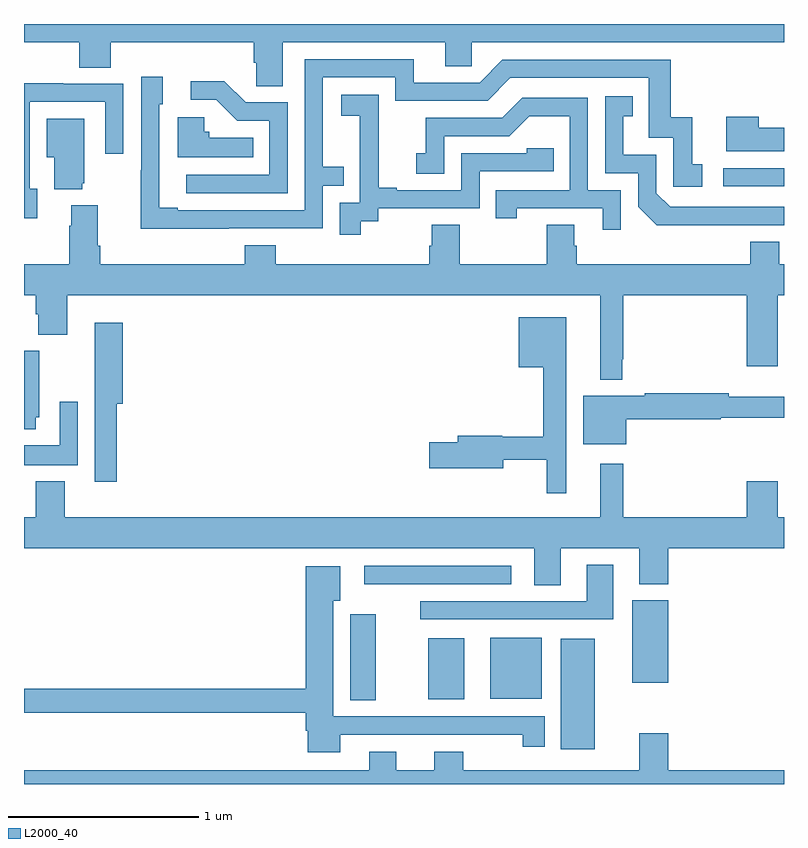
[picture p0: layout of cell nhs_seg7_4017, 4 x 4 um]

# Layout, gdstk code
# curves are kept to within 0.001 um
import gdstk
lib = gdstk.Library(unit=1e-6, precision=1e-09)
def R(c, l, rs):  # rectangles x0, y0, x1, y1
    for r in rs: c.add(gdstk.rectangle(r[:2], r[2:], *l))
def P(c, l, *ps):  # polygons
    for p in ps: c.add(gdstk.Polygon(p, *l))
L2000_40 = (2000, 40)

nhs_seg7_4017 = lib.new_cell('nhs_seg7_4017')
R(nhs_seg7_4017, L2000_40, [(367.826,1042.184,368.005,1042.765), (366.716,1042.441,366.85,1042.894), (367.127,1042.445,367.318,1042.768), (367.454,1042.448,367.726,1042.771), (368.201,1042.532,368.392,1042.966), (366.792,1043.052,367.564,1043.148), (368.679,1045.146,369,1045.242)])
P(nhs_seg7_4017, L2000_40, [(366.361,1045.904),(367.217,1045.904),(367.217,1045.777),(367.356,1045.777),(367.356,1045.904),(369,1045.904),(369,1046),(365,1046),(365,1045.904),(365.291,1045.904),(365.291,1045.771),(365.456,1045.771),(365.456,1045.904),(366.209,1045.904),(366.209,1045.795),(366.222,1045.795),(366.222,1045.672),(366.361,1045.672)],
  [(366.077,1044.924),(366.573,1044.924),(366.573,1045.149),(366.683,1045.149),(366.683,1045.25),(366.573,1045.25),(366.573,1045.719),(366.954,1045.719),(366.954,1045.596),(367.44,1045.596),(367.56,1045.716),(368.289,1045.716),(368.289,1045.401),(368.418,1045.401),(368.418,1045.143),(368.569,1045.143),(368.569,1045.263),(368.516,1045.263),(368.516,1045.51),(368.405,1045.51),(368.405,1045.812),(367.518,1045.812),(367.398,1045.692),(367.051,1045.692),(367.051,1045.815),(366.477,1045.815),(366.477,1045.02),(365.809,1045.02),(365.809,1045.033),(365.712,1045.033),(365.712,1045.578),(365.731,1045.578),(365.731,1045.723),(365.616,1045.723),(365.616,1045.229),(365.614,1045.229),(365.614,1044.923)],
  [(366.387,1045.587),(366.168,1045.587),(366.055,1045.7),(365.877,1045.7),(365.877,1045.602),(366.011,1045.602),(366.122,1045.491),(366.291,1045.491),(366.291,1045.206),(365.853,1045.206),(365.853,1045.11),(366.387,1045.11)],
  [(365.071,1045.134),(365.031,1045.134),(365.031,1045.59),(365.427,1045.59),(365.427,1045.317),(365.523,1045.317),(365.523,1045.686),(365.207,1045.686),(365.207,1045.688),(365,1045.688),(365,1044.978),(365.071,1044.978)],
  [(366.772,1044.961),(366.864,1044.961),(366.864,1045.029),(367.398,1045.029),(367.398,1045.224),(367.787,1045.224),(367.787,1045.347),(367.647,1045.347),(367.647,1045.32),(367.302,1045.32),(367.302,1045.125),(366.961,1045.125),(366.961,1045.138),(366.866,1045.138),(366.866,1045.421),(366.867,1045.421),(366.867,1045.627),(366.669,1045.627),(366.669,1045.517),(366.767,1045.517),(366.767,1045.289),(366.768,1045.289),(366.768,1045.059),(366.663,1045.059),(366.663,1044.891),(366.772,1044.891)],
  [(368.738,1044.942),(369,1044.942),(369,1045.038),(368.4,1045.038),(368.328,1045.11),(368.328,1045.311),(368.155,1045.311),(368.155,1045.515),(368.204,1045.515),(368.204,1045.621),(368.058,1045.621),(368.058,1045.215),(368.232,1045.215),(368.232,1045.038),(368.33,1044.941)],
  [(368.142,1045.125),(367.968,1045.125),(367.968,1045.611),(367.622,1045.611),(367.517,1045.506),(367.114,1045.506),(367.114,1045.321),(367.065,1045.321),(367.065,1045.212),(367.212,1045.212),(367.212,1045.41),(367.554,1045.41),(367.658,1045.514),(367.872,1045.514),(367.872,1045.125),(367.483,1045.125),(367.483,1044.978),(367.594,1044.978),(367.594,1045.029),(368.045,1045.029),(368.045,1044.918),(368.142,1044.918)],
  [(369,1045.453),(368.867,1045.453),(368.867,1045.513),(368.696,1045.513),(368.696,1045.331),(369,1045.331)],
  [(366.206,1045.402),(365.976,1045.402),(365.976,1045.434),(365.949,1045.434),(365.949,1045.51),(365.81,1045.51),(365.81,1045.298),(366.206,1045.298)],
  [(365.306,1045.161),(365.317,1045.161),(365.317,1045.501),(365.12,1045.501),(365.12,1045.298),(365.159,1045.298),(365.159,1045.13),(365.306,1045.13)],
  [(368.148,1044.235),(368.155,1044.235),(368.155,1044.572),(368.804,1044.572),(368.804,1044.198),(368.968,1044.198),(368.968,1044.572),(369,1044.572),(369,1044.736),(368.974,1044.736),(368.974,1044.853),(368.822,1044.853),(368.822,1044.736),(367.91,1044.736),(367.91,1044.834),(367.897,1044.834),(367.897,1044.944),(367.75,1044.944),(367.75,1044.736),(367.293,1044.736),(367.293,1044.944),(367.145,1044.944),(367.145,1044.834),(367.133,1044.834),(367.133,1044.736),(366.326,1044.736),(366.326,1044.835),(366.161,1044.835),(366.161,1044.736),(365.402,1044.736),(365.402,1044.832),(365.389,1044.832),(365.389,1045.045),(365.249,1045.045),(365.249,1044.938),(365.237,1044.938),(365.237,1044.736),(365,1044.736),(365,1044.572),(365.063,1044.572),(365.063,1044.473),(365.075,1044.473),(365.075,1044.364),(365.228,1044.364),(365.228,1044.572),(368.033,1044.572),(368.033,1044.128),(368.148,1044.128)],
  [(367.855,1044.457),(367.604,1044.457),(367.604,1044.194),(367.734,1044.194),(367.734,1043.827),(367.518,1043.827),(367.518,1043.834),(367.283,1043.834),(367.283,1043.798),(367.134,1043.798),(367.134,1043.663),(367.522,1043.663),(367.522,1043.706),(367.751,1043.706),(367.751,1043.529),(367.855,1043.529)],
  [(365.489,1044.002),(365.519,1044.002),(365.519,1044.427),(365.372,1044.427),(365.372,1044.106),(365.373,1044.106),(365.373,1043.592),(365.489,1043.592)],
  [(365.062,1043.931),(365.08,1043.931),(365.08,1044.279),(365,1044.279),(365,1043.868),(365.062,1043.868)],
  [(368.17,1043.92),(368.666,1043.92),(368.666,1043.928),(369,1043.928),(369,1044.037),(368.708,1044.037),(368.708,1044.056),(368.266,1044.056),(368.266,1044.043),(367.943,1044.043),(367.943,1043.789),(368.17,1043.789)],
  [(365.283,1044.013),(365.187,1044.013),(365.187,1043.782),(365,1043.782),(365,1043.678),(365.283,1043.678)],
  [(367.825,1043.24),(368.237,1043.24),(368.237,1043.051),(368.39,1043.051),(368.39,1043.24),(369,1043.24),(369,1043.404),(368.968,1043.404),(368.968,1043.593),(368.804,1043.593),(368.804,1043.404),(368.155,1043.404),(368.155,1043.686),(368.033,1043.686),(368.033,1043.404),(365.215,1043.404),(365.215,1043.593),(365.063,1043.593),(365.063,1043.404),(365,1043.404),(365,1043.24),(367.685,1043.24),(367.685,1043.047),(367.825,1043.047)],
  [(368.101,1043.155),(367.961,1043.155),(367.961,1042.962),(367.086,1042.962),(367.086,1042.866),(368.101,1042.866)],
  [(366.664,1042.26),(367.396,1042.26),(367.396,1042.259),(367.624,1042.259),(367.624,1042.197),(367.741,1042.197),(367.741,1042.356),(366.628,1042.356),(366.628,1042.964),(366.664,1042.964),(366.664,1043.146),(366.482,1043.146),(366.482,1042.502),(365,1042.502),(365,1042.374),(366.482,1042.374),(366.482,1042.28),(366.494,1042.28),(366.494,1042.166),(366.664,1042.166)],
  [(369,1042.072),(368.39,1042.072),(368.39,1042.267),(368.237,1042.267),(368.237,1042.072),(367.313,1042.072),(367.313,1042.171),(367.16,1042.171),(367.16,1042.072),(366.958,1042.072),(366.958,1042.171),(366.818,1042.171),(366.818,1042.072),(365,1042.072),(365,1042),(369,1042)])

lib.write_gds('nhs_seg7_4017.gds')
